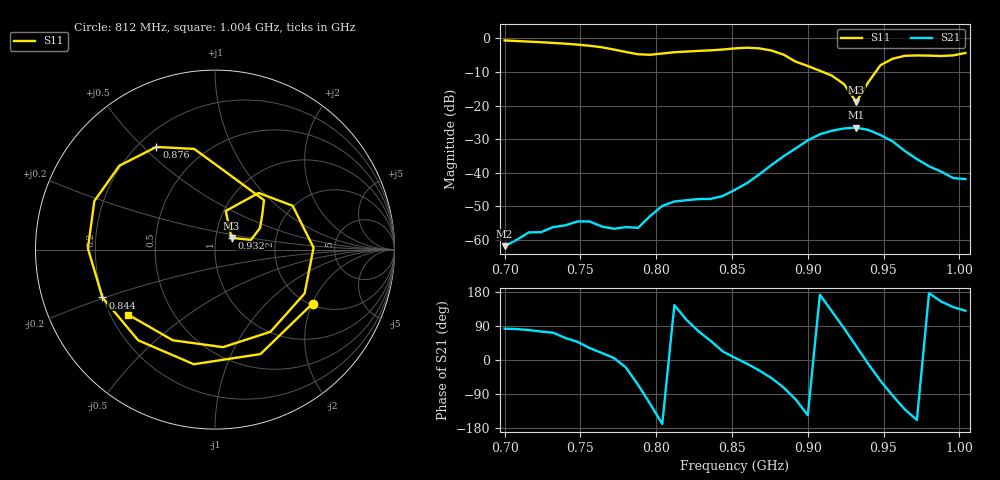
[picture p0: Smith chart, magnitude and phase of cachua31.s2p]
# Hz S RI R 50
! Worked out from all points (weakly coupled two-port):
!   39 points, 700 MHz to 1.004 GHz, reference 50 ohm
!   highest |S21| = -26.57 dB at 932 MHz (marker M1); lowest = -61.8 dB at 700 MHz (marker M2)
!   lowest |S11| = -18.9 dB at 932 MHz (marker M3), VSWR 1.25, Z = 59.6 + j7.9 ohm
!   |S11| at or under -10 dB: 909.9 MHz to 944.8 MHz (34.93 MHz wide, 3.77 % of centre)
!   S12 and S22 are empty: the file has one direction only
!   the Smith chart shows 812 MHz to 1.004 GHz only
!   S11 on the Smith chart (normalised r, x): 812 MHz: 2.06, -2.01; 844 MHz: 0.20, -0.20; 876 MHz: 0.27, +0.55; 932 MHz: 1.19, +0.16; 1.004 GHz: 0.27, -0.31
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7e8  0.7663 0.5252  0.000102 0.000804  0 0  0 0
7.24e8  0.8353 -0.2612  0.000338 0.00126  0 0  0 0
7.4e8  0.4426 -0.705  0.000872 0.0014  0 0  0 0
7.56e8  -0.1996 -0.7484  0.00161 0.000991  0 0  0 0
7.72e8  -0.6544 -0.1903  0.00147 0.00014  0 0  0 0
7.8e8  -0.5808 0.2333  0.00147 -0.000521  0 0  0 0
7.88e8  -0.2274 0.5329  0.000637 -0.00138  0 0  0 0
7.96e8  0.2588 0.5069  -0.000986 -0.00205  0 0  0 0
8.04e8  0.574 0.1516  -0.00315 -0.00062  0 0  0 0
8.12e8  0.5438 -0.3004  -0.00306 0.00215  0 0  0 0
8.28e8  -0.1186 -0.6386  0.00102 0.00393  0 0  0 0
8.44e8  -0.6273 -0.2665  0.00418 0.00173  0 0  0 0
8.52e8  -0.7082 0.0073  0.00556 0.000561  0 0  0 0
8.76e8  -0.3269 0.5719  0.0088 -0.00961  0 0  0 0
9e8  0.2731 0.2753  -0.0251 -0.0171  0 0  0 0
9.08e8  0.2636 0.1969  -0.037 0.00509  0 0  0 0
9.32e8  0.092 0.0655  0.0379 0.0277  0 0  0 0
9.4e8  0.0598 0.2153  0.0426 -0.00812  0 0  0 0
9.56e8  0.4327 0.2442  -0.00205 -0.0292  0 0  0 0
9.64e8  0.5491 0.0104  -0.0137 -0.0161  0 0  0 0
9.8e8  0.3092 -0.4578  -0.0125 0.000827  0 0  0 0
1.004e9  -0.4844 -0.362  -0.00517 0.00618  0 0  0 0
